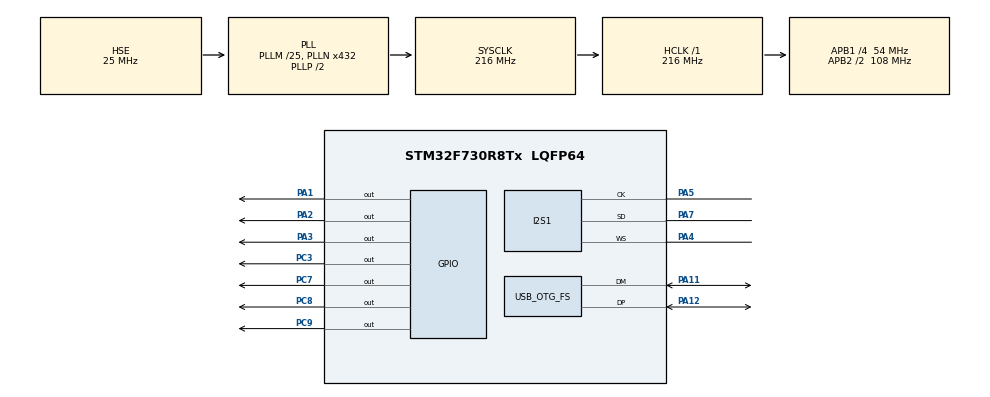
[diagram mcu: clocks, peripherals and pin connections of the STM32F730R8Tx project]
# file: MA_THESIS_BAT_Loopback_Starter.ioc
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CORTEX_M7.default_mode_Activation=1
Dma.Request0=SPI1_RX
Dma.SPI1_RX.0.Direction=DMA_PERIPH_TO_MEMORY
Dma.SPI1_RX.0.FIFOMode=DMA_FIFOMODE_DISABLE
Dma.SPI1_RX.0.Instance=DMA2_Stream0
Dma.SPI1_RX.0.MemDataAlignment=DMA_MDATAALIGN_HALFWORD
Dma.SPI1_RX.0.MemInc=DMA_MINC_ENABLE
Dma.SPI1_RX.0.Mode=DMA_CIRCULAR
Dma.SPI1_RX.0.PeriphDataAlignment=DMA_PDATAALIGN_HALFWORD
Dma.SPI1_RX.0.PeriphInc=DMA_PINC_DISABLE
Dma.SPI1_RX.0.Priority=DMA_PRIORITY_HIGH
I2S1.AudioFreq=AudioFreqCustomValue
I2S1.AudioFreqCustom=160000
I2S1.DataFormat=I2S_DATAFORMAT_32B
I2S1.ErrorAudioFreq=0.09 %
I2S1.FullDuplexMode=I2S_FULLDUPLEXMODE_DISABLE
I2S1.Instance=SPI$Index
I2S1.Mode=I2S_MODE_MASTER_RX
I2S1.RealAudioFreq=160.156 KHz
I2S1.VirtualMode=I2S_MODE_MASTER
Mcu.Family=STM32F7
Mcu.Name=STM32F730R8Tx
Mcu.Package=LQFP64
NVIC.DMA2_Stream0_IRQn=true\:0\:0\:false\:false\:true\:false\:true\:true
NVIC.OTG_FS_IRQn=true\:0\:0\:false\:false\:true\:false\:true\:true
NVIC.PriorityGroup=NVIC_PRIORITYGROUP_4
PA1.Signal=GPIO_Output
PA11.Mode=Device_Only
PA11.Signal=USB_OTG_FS_DM
PA12.Mode=Device_Only
PA12.Signal=USB_OTG_FS_DP
PA13.Mode=Trace_Asynchronous_SW
PA13.Signal=SYS_JTMS-SWDIO
PA14.Mode=Trace_Asynchronous_SW
PA14.Signal=SYS_JTCK-SWCLK
PA2.Signal=GPIO_Output
PA3.Signal=GPIO_Output
PA4.Mode=Half_Duplex_Master
PA4.Signal=I2S1_WS
PA5.Mode=Half_Duplex_Master
PA5.Signal=I2S1_CK
PA7.Mode=Half_Duplex_Master
PA7.Signal=I2S1_SD
PB3.Mode=Trace_Asynchronous_SW
PB3.Signal=SYS_JTDO-SWO
PC3.Signal=GPIO_Output
PC7.Signal=GPIO_Output
PC8.Signal=GPIO_Output
PC9.Signal=GPIO_Output
PH0-OSC_IN.Mode=HSE-External-Oscillator
PH0-OSC_IN.Signal=RCC_OSC_IN
PH1-OSC_OUT.Mode=HSE-External-Oscillator
PH1-OSC_OUT.Signal=RCC_OSC_OUT
ProjectManager.HeapSize=0x2000
ProjectManager.StackSize=0x4000
ProjectManager.TargetToolchain=STM32CubeIDE
RCC.AHBFreq_Value=216000000
RCC.APB1CLKDivider=RCC_HCLK_DIV4
RCC.APB1Freq_Value=54000000
RCC.APB1TimFreq_Value=108000000
RCC.APB2CLKDivider=RCC_HCLK_DIV2
RCC.APB2Freq_Value=108000000
RCC.APB2TimFreq_Value=216000000
RCC.CortexFreq_Value=216000000
RCC.HCLKFreq_Value=216000000
RCC.HSE_VALUE=25000000
RCC.HSI_VALUE=16000000
RCC.LSE_VALUE=32768
RCC.PLLI2SN=205
RCC.PLLM=25
RCC.PLLN=432
RCC.PLLQ=9
RCC.SYSCLKFreq_VALUE=216000000
RCC.SYSCLKSource=RCC_SYSCLKSOURCE_PLLCLK
RCC.USBFreq_Value=48000000
RCC.VCOOutputFreq_Value=432000000
USB_DEVICE.CLASS_NAME_FS=CDC
USB_DEVICE.PRODUCT_STRING_CDC_FS=STM32  based BAT detector
USB_DEVICE.VirtualMode-CDC_FS=Cdc
USB_DEVICE.VirtualModeFS=Cdc_FS
USB_OTG_FS.VirtualMode=Device_Only
VP_USB_DEVICE_VS_USB_DEVICE_CDC_FS.Mode=CDC_FS
board=custom

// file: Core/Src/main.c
/* USER CODE BEGIN Header */
/**
  ******************************************************************************
  * @file           : main.c
  * @brief          : Main program body
  ******************************************************************************
  * @attention
  *
  * Copyright (c) 2024 STMicroelectronics.
  * All rights reserved.
  *
  * This software is licensed under terms that can be found in the LICENSE file
  * in the root directory of this software component.
  * If no LICENSE file comes with this software, it is provided AS-IS.
  *
  ******************************************************************************
  */
/* USER CODE END Header */
#include "main.h"
#include "usb_device.h"

/* USER CODE BEGIN Includes */
#include "usbd_cdc_if.h"
/* USER CODE END Includes */

I2S_HandleTypeDef hi2s1;
DMA_HandleTypeDef hdma_spi1_rx;

void SystemClock_Config(void);
static void MPU_Config(void);
static void MX_GPIO_Init(void);
static void MX_DMA_Init(void);
static void MX_I2S1_Init(void);
/* USER CODE BEGIN PFP */
void HAL_I2S_RxHalfCpltCallback(I2S_HandleTypeDef *hi2s);
void HAL_I2S_RxCpltCallback(I2S_HandleTypeDef *hi2s);
/* USER CODE END PFP */

/* USER CODE BEGIN 0 */
#define ADC_BUFF_SZ 4096*2
#define USB_BUFF_SZ 2048

uint16_t adcBuff[ADC_BUFF_SZ];
volatile int32_t usbBuff[USB_BUFF_SZ];

volatile int32_t usbBuff1[USB_BUFF_SZ];
volatile int32_t usbBuff2[USB_BUFF_SZ];

volatile short dataReady;
/* USER CODE END 0 */

int main(void)
{

  /* MPU Configuration--------------------------------------------------------*/
  MPU_Config();

  /* MCU Configuration--------------------------------------------------------*/

  /* Reset of all peripherals, Initializes the Flash interface and the Systick. */
  HAL_Init();

  /* USER CODE BEGIN Init */
  HAL_Delay(1000); // wait for adc powerup before applying I2S clocks
  /* USER CODE END Init */

  /* Configure the system clock */
  SystemClock_Config();

  /* Initialize all configured peripherals */
  MX_GPIO_Init();
  MX_DMA_Init();
  MX_I2S1_Init();
  MX_USB_DEVICE_Init();
  /* USER CODE BEGIN 2 */
  HAL_I2S_Receive_DMA(&hi2s1, adcBuff, ADC_BUFF_SZ/2);

  /* USER CODE END 2 */

  /* Infinite loop */
  while (1)
  {

  }
}

void SystemClock_Config(void)
{
  RCC_OscInitTypeDef RCC_OscInitStruct = {0};
  RCC_ClkInitTypeDef RCC_ClkInitStruct = {0};

  /** Configure the main internal regulator output voltage
  */
  __HAL_RCC_PWR_CLK_ENABLE();
  __HAL_PWR_VOLTAGESCALING_CONFIG(PWR_REGULATOR_VOLTAGE_SCALE1);

  /** Initializes the RCC Oscillators according to the specified parameters
  * in the RCC_OscInitTypeDef structure.
  */
  RCC_OscInitStruct.OscillatorType = RCC_OSCILLATORTYPE_HSE;
  RCC_OscInitStruct.HSEState = RCC_HSE_ON;
  RCC_OscInitStruct.PLL.PLLState = RCC_PLL_ON;
  RCC_OscInitStruct.PLL.PLLSource = RCC_PLLSOURCE_HSE;
  RCC_OscInitStruct.PLL.PLLM = 25;
  RCC_OscInitStruct.PLL.PLLN = 432;
  RCC_OscInitStruct.PLL.PLLP = RCC_PLLP_DIV2;
  RCC_OscInitStruct.PLL.PLLQ = 9;
  if (HAL_RCC_OscConfig(&RCC_OscInitStruct) != HAL_OK)
  {
    Error_Handler();
  }

  /** Activate the Over-Drive mode
  */
  if (HAL_PWREx_EnableOverDrive() != HAL_OK)
  {
    Error_Handler();
  }

  /** Initializes the CPU, AHB and APB buses clocks
  */
  RCC_ClkInitStruct.ClockType = RCC_CLOCKTYPE_HCLK|RCC_CLOCKTYPE_SYSCLK
                              |RCC_CLOCKTYPE_PCLK1|RCC_CLOCKTYPE_PCLK2;
  RCC_ClkInitStruct.SYSCLKSource = RCC_SYSCLKSOURCE_PLLCLK;
  RCC_ClkInitStruct.AHBCLKDivider = RCC_SYSCLK_DIV1;
  RCC_ClkInitStruct.APB1CLKDivider = RCC_HCLK_DIV4;
  RCC_ClkInitStruct.APB2CLKDivider = RCC_HCLK_DIV2;

  if (HAL_RCC_ClockConfig(&RCC_ClkInitStruct, FLASH_LATENCY_7) != HAL_OK)
  {
    Error_Handler();
  }
}

static void MX_I2S1_Init(void)
{

  hi2s1.Instance = SPI1;
  hi2s1.Init.Mode = I2S_MODE_MASTER_RX;
  hi2s1.Init.Standard = I2S_STANDARD_PHILIPS;
  hi2s1.Init.DataFormat = I2S_DATAFORMAT_32B;
  hi2s1.Init.MCLKOutput = I2S_MCLKOUTPUT_DISABLE;
  hi2s1.Init.AudioFreq = 160000;
  hi2s1.Init.CPOL = I2S_CPOL_LOW;
  hi2s1.Init.ClockSource = I2S_CLOCK_PLL;
  if (HAL_I2S_Init(&hi2s1) != HAL_OK)
  {
    Error_Handler();
  }

}

static void MX_DMA_Init(void)
{

  /* DMA controller clock enable */
  __HAL_RCC_DMA2_CLK_ENABLE();

  /* DMA interrupt init */
  /* DMA2_Stream0_IRQn interrupt configuration */
  HAL_NVIC_SetPriority(DMA2_Stream0_IRQn, 0, 0);
  HAL_NVIC_EnableIRQ(DMA2_Stream0_IRQn);

}

static void MX_GPIO_Init(void)
{
  GPIO_InitTypeDef GPIO_InitStruct = {0};

  /* GPIO Ports Clock Enable */
  __HAL_RCC_GPIOH_CLK_ENABLE();
  __HAL_RCC_GPIOC_CLK_ENABLE();
  __HAL_RCC_GPIOA_CLK_ENABLE();
  __HAL_RCC_GPIOB_CLK_ENABLE();

  /*Configure GPIO pin Output Level */
  HAL_GPIO_WritePin(GPIOC, GPIO_PIN_3, GPIO_PIN_RESET);

  HAL_GPIO_WritePin(GPIOC, GPIO_PIN_7|GPIO_PIN_8|GPIO_PIN_9, GPIO_PIN_SET);

  /*Configure GPIO pin Output Level */
  HAL_GPIO_WritePin(GPIOA, GPIO_PIN_1|GPIO_PIN_2|GPIO_PIN_3, GPIO_PIN_RESET);

  /*Configure GPIO pins : PC3 PC7 PC8 PC9 */
  GPIO_InitStruct.Pin = GPIO_PIN_3|GPIO_PIN_7|GPIO_PIN_8|GPIO_PIN_9;
  GPIO_InitStruct.Mode = GPIO_MODE_OUTPUT_PP;
  GPIO_InitStruct.Pull = GPIO_NOPULL;
  GPIO_InitStruct.Speed = GPIO_SPEED_FREQ_LOW;
  HAL_GPIO_Init(GPIOC, &GPIO_InitStruct);

  /*Configure GPIO pins : PA1 PA2 PA3 */
  GPIO_InitStruct.Pin = GPIO_PIN_1|GPIO_PIN_2|GPIO_PIN_3;
  GPIO_InitStruct.Mode = GPIO_MODE_OUTPUT_PP;
  GPIO_InitStruct.Pull = GPIO_NOPULL;
  GPIO_InitStruct.Speed = GPIO_SPEED_FREQ_LOW;
  HAL_GPIO_Init(GPIOA, &GPIO_InitStruct);

}

/* USER CODE BEGIN 4 */
/**
  * @brief I2S DMA Half complete callback interrupt handler
  * @param I2S_HandleTypeDef *hi2s the I2S handler
  * @retval None
  */
void HAL_I2S_RxHalfCpltCallback(I2S_HandleTypeDef *hi2s){
	int usbBuffcntr = 0;
	// reconstruct left-right samples and fill first half of ADC-buffer to separate USB-buffer
	for(int i = 0; i < ADC_BUFF_SZ/2; i = i + 4){
		usbBuff1[usbBuffcntr] = (int) (adcBuff[i] << 16) | adcBuff[i + 1];
		usbBuff1[usbBuffcntr + 1] = (int) (adcBuff[i + 2] << 16) | adcBuff[i + 3];
		usbBuffcntr++;
		usbBuffcntr++;
	}
	CDC_Transmit_FS((uint8_t*) usbBuff1, USB_BUFF_SZ * 4);
}

/**
  * @brief I2S DMA complete callback interrupt handler
  * @param I2S_HandleTypeDef *hi2s the I2S handler
  * @retval None
  */
void HAL_I2S_RxCpltCallback(I2S_HandleTypeDef *hi2s) {
	//int usbBuffcntr = USB_BUFF_SZ/2;
	int usbBuffcntr = 0;
	// reconstruct left-right samples and fill final half of ADC-buffer to separate USB-buffer
	for(int i = ADC_BUFF_SZ/2; i < ADC_BUFF_SZ; i = i + 4){
		usbBuff2[usbBuffcntr] = (int) (adcBuff[i] << 16) | adcBuff[i + 1];
		usbBuff2[usbBuffcntr + 1] = (int) (adcBuff[i + 2] << 16) | adcBuff[i + 3];
		usbBuffcntr++;
		usbBuffcntr++;
	}
	CDC_Transmit_FS((uint8_t*) usbBuff2, USB_BUFF_SZ * 4);
}
/* USER CODE END 4 */

 /* MPU Configuration */

void MPU_Config(void)
{
  MPU_Region_InitTypeDef MPU_InitStruct = {0};

  /* Disables the MPU */
  HAL_MPU_Disable();

  /** Initializes and configures the Region and the memory to be protected
  */
  MPU_InitStruct.Enable = MPU_REGION_ENABLE;
  MPU_InitStruct.Number = MPU_REGION_NUMBER0;
  MPU_InitStruct.BaseAddress = 0x0;
  MPU_InitStruct.Size = MPU_REGION_SIZE_4GB;
  MPU_InitStruct.SubRegionDisable = 0x87;
  MPU_InitStruct.TypeExtField = MPU_TEX_LEVEL0;
  MPU_InitStruct.AccessPermission = MPU_REGION_NO_ACCESS;
  MPU_InitStruct.DisableExec = MPU_INSTRUCTION_ACCESS_DISABLE;
  MPU_InitStruct.IsShareable = MPU_ACCESS_SHAREABLE;
  MPU_InitStruct.IsCacheable = MPU_ACCESS_NOT_CACHEABLE;
  MPU_InitStruct.IsBufferable = MPU_ACCESS_NOT_BUFFERABLE;

  HAL_MPU_ConfigRegion(&MPU_InitStruct);
  /* Enables the MPU */
  HAL_MPU_Enable(MPU_PRIVILEGED_DEFAULT);

}

void Error_Handler(void)
{
  __disable_irq();
  while (1)
  {
  }
}
